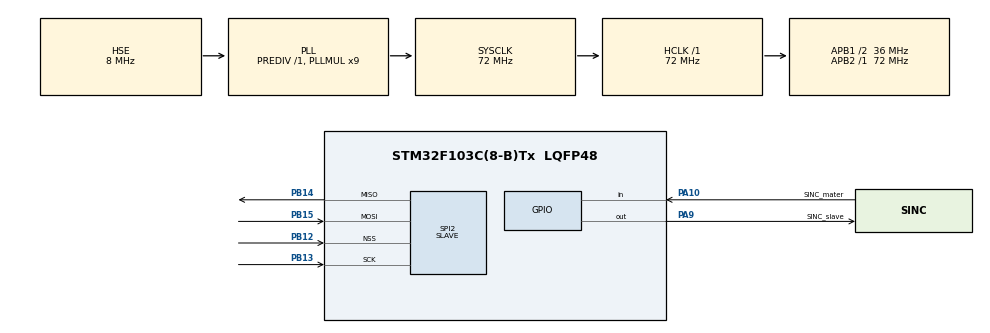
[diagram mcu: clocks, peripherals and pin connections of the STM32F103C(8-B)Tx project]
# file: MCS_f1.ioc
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Mcu.Family=STM32F1
Mcu.Name=STM32F103C(8-B)Tx
Mcu.Package=LQFP48
NVIC.PriorityGroup=NVIC_PRIORITYGROUP_4
PA10.GPIO_Label=SINC_mater
PA10.GPIO_PuPd=GPIO_PULLDOWN
PA10.Signal=GPIO_Input
PA13.Mode=Serial_Wire
PA13.Signal=SYS_JTMS-SWDIO
PA14.Mode=Serial_Wire
PA14.Signal=SYS_JTCK-SWCLK
PA9.GPIO_Label=SINC_slave
PA9.GPIO_PuPd=GPIO_PULLDOWN
PA9.GPIO_Speed=GPIO_SPEED_FREQ_HIGH
PA9.PinState=GPIO_PIN_RESET
PA9.Signal=GPIO_Output
PB12.Mode=NSS_Signal_Hard_Input
PB12.Signal=SPI2_NSS
PB13.Mode=Full_Duplex_Slave
PB13.Signal=SPI2_SCK
PB14.Mode=Full_Duplex_Slave
PB14.Signal=SPI2_MISO
PB15.Mode=Full_Duplex_Slave
PB15.Signal=SPI2_MOSI
PD0-OSC_IN.Mode=HSE-External-Oscillator
PD0-OSC_IN.Signal=RCC_OSC_IN
PD1-OSC_OUT.Mode=HSE-External-Oscillator
PD1-OSC_OUT.Signal=RCC_OSC_OUT
ProjectManager.HeapSize=0x200
ProjectManager.StackSize=0x400
ProjectManager.TargetToolchain=STM32CubeIDE
RCC.AHBFreq_Value=72000000
RCC.APB1CLKDivider=RCC_HCLK_DIV2
RCC.APB1Freq_Value=36000000
RCC.APB1TimFreq_Value=72000000
RCC.APB2Freq_Value=72000000
RCC.APB2TimFreq_Value=72000000
RCC.HCLKFreq_Value=72000000
RCC.PLLMUL=RCC_PLL_MUL9
RCC.PLLSourceVirtual=RCC_PLLSOURCE_HSE
RCC.SYSCLKFreq_VALUE=72000000
RCC.SYSCLKSource=RCC_SYSCLKSOURCE_PLLCLK
RCC.USBFreq_Value=72000000
SPI2.Direction=SPI_DIRECTION_2LINES
SPI2.Mode=SPI_MODE_SLAVE
SPI2.VirtualNSS=VM_NSSHARD
SPI2.VirtualType=VM_SLAVE
board=custom

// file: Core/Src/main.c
/* USER CODE BEGIN Header */
/**
  ******************************************************************************
  * @file           : main.c
  * @brief          : Main program body
  ******************************************************************************
  * @attention
  *
  * Copyright (c) 2025 STMicroelectronics.
  * All rights reserved.
  *
  * This software is licensed under terms that can be found in the LICENSE file
  * in the root directory of this software component.
  * If no LICENSE file comes with this software, it is provided AS-IS.
  *
  ******************************************************************************
  */
/* USER CODE END Header */
#include "main.h"
#include "spi.h"
#include "gpio.h"

/* USER CODE BEGIN Includes */
#include "calib.h"

/* USER CODE END Includes */

/* USER CODE BEGIN PTD */
union calib_t{
	uint8_t inteiro[4];
	float flutuante;
};

/* USER CODE END PTD */

/* USER CODE BEGIN PV */
float mx[tam] = {0}, my[tam] = {0}, mz[tam] = {0};
union calib_t mx_[tam] = {0}, my_[tam] = {0}, mz_[tam] = {0};
float Ht_H[N][N], Ht_e[N], inv[N][N], mul_mat[N][tam], Be[tam], e[tam], f[tam], mat_H[N][tam];
float p1[9] = {0};//, p0[9] = {0};
uint8_t passos_NLLS = 0;

/* USER CODE END PV */

void SystemClock_Config(void);

int main(void)
{

  /* MCU Configuration--------------------------------------------------------*/

  /* Reset of all peripherals, Initializes the Flash interface and the Systick. */
  HAL_Init();

  /* Configure the system clock */
  SystemClock_Config();

  /* Initialize all configured peripherals */
  MX_GPIO_Init();
  MX_SPI2_Init();
  /* USER CODE BEGIN 2 */
  union calib_t param[9], time;
  uint32_t start_time = 0;

  /* USER CODE END 2 */

  /* Infinite loop */
  /* USER CODE BEGIN WHILE */
  while (1)
  {
	  while(!HAL_GPIO_ReadPin(GPIOA, GPIO_PIN_10));
	  HAL_GPIO_WritePin(GPIOA, GPIO_PIN_9, SET);

	  for(uint16_t i = 0; i<=tam; i++)
	  {
		  HAL_SPI_Receive(&hspi2, mx_[i].inteiro, 4, 1000);
	  }
	  for(uint16_t i = 0; i<=tam; i++)
	  {
		  HAL_SPI_Receive(&hspi2, my_[i].inteiro, 4, 1000);
	  }
	  for(uint16_t i = 0; i<=tam; i++)
	  {
		  HAL_SPI_Receive(&hspi2, mz_[i].inteiro, 4, 1000);
	  }
	  HAL_GPIO_WritePin(GPIOA, GPIO_PIN_9, RESET);

	  for(uint16_t i = 0; i<=tam; i++)
	  {
		  mx[i] = mx_[i].flutuante;
		  my[i] = my_[i].flutuante;
		  mz[i] = mz_[i].flutuante;
	  }

	  /*start_time = HAL_GetTick();
	  ETS(mx, my, mz, p1);
	  time.flutuante = HAL_GetTick() - start_time;*/

	  start_time = HAL_GetTick();
	  passos_NLLS = NLLS(mx, my, mz, p1);
	  time.flutuante = HAL_GetTick() - start_time;

	  for(uint8_t i = 0; i < 10; i++)
	  {
		  param[i].flutuante = p1[i];
	  }

	  HAL_GPIO_WritePin(GPIOA, GPIO_PIN_9, SET);

	  for(uint8_t i = 0; i < 10; i++)
	  {
		  HAL_SPI_Transmit(&hspi2, param[i].inteiro, 4, HAL_MAX_DELAY);
	  }
	  HAL_SPI_Transmit(&hspi2, time.inteiro, 4, HAL_MAX_DELAY);
	  HAL_SPI_Transmit(&hspi2, &passos_NLLS, 1, HAL_MAX_DELAY);
	  HAL_GPIO_WritePin(GPIOA, GPIO_PIN_9, RESET);

    /* USER CODE END WHILE */

  }
}

void SystemClock_Config(void)
{
  RCC_OscInitTypeDef RCC_OscInitStruct = {0};
  RCC_ClkInitTypeDef RCC_ClkInitStruct = {0};

  /** Initializes the RCC Oscillators according to the specified parameters
  * in the RCC_OscInitTypeDef structure.
  */
  RCC_OscInitStruct.OscillatorType = RCC_OSCILLATORTYPE_HSE;
  RCC_OscInitStruct.HSEState = RCC_HSE_ON;
  RCC_OscInitStruct.HSEPredivValue = RCC_HSE_PREDIV_DIV1;
  RCC_OscInitStruct.HSIState = RCC_HSI_ON;
  RCC_OscInitStruct.PLL.PLLState = RCC_PLL_ON;
  RCC_OscInitStruct.PLL.PLLSource = RCC_PLLSOURCE_HSE;
  RCC_OscInitStruct.PLL.PLLMUL = RCC_PLL_MUL9;
  if (HAL_RCC_OscConfig(&RCC_OscInitStruct) != HAL_OK)
  {
    Error_Handler();
  }

  /** Initializes the CPU, AHB and APB buses clocks
  */
  RCC_ClkInitStruct.ClockType = RCC_CLOCKTYPE_HCLK|RCC_CLOCKTYPE_SYSCLK
                              |RCC_CLOCKTYPE_PCLK1|RCC_CLOCKTYPE_PCLK2;
  RCC_ClkInitStruct.SYSCLKSource = RCC_SYSCLKSOURCE_PLLCLK;
  RCC_ClkInitStruct.AHBCLKDivider = RCC_SYSCLK_DIV1;
  RCC_ClkInitStruct.APB1CLKDivider = RCC_HCLK_DIV2;
  RCC_ClkInitStruct.APB2CLKDivider = RCC_HCLK_DIV1;

  if (HAL_RCC_ClockConfig(&RCC_ClkInitStruct, FLASH_LATENCY_2) != HAL_OK)
  {
    Error_Handler();
  }
}

void Error_Handler(void)
{
  __disable_irq();
  while (1)
  {
  }
}
